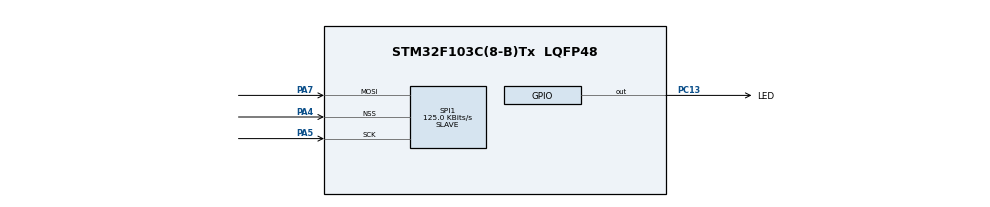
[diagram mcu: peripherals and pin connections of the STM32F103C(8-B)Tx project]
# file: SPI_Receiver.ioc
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Mcu.Family=STM32F1
Mcu.Name=STM32F103C(8-B)Tx
Mcu.Package=LQFP48
NVIC.PriorityGroup=NVIC_PRIORITYGROUP_4
NVIC.SPI1_IRQn=true\:0\:0\:false\:false\:true\:true\:true
PA13.Mode=Serial_Wire
PA13.Signal=SYS_JTMS-SWDIO
PA14.Mode=Serial_Wire
PA14.Signal=SYS_JTCK-SWCLK
PA4.Mode=NSS_Signal_Hard_Input
PA4.Signal=SPI1_NSS
PA5.Mode=RX_Only_Simplex_Unidirect_Slave
PA5.Signal=SPI1_SCK
PA7.Mode=RX_Only_Simplex_Unidirect_Slave
PA7.Signal=SPI1_MOSI
PC13-TAMPER-RTC.GPIO_Label=LED
PC13-TAMPER-RTC.Signal=GPIO_Output
ProjectManager.HeapSize=0x200
ProjectManager.StackSize=0x400
ProjectManager.TargetToolchain=STM32CubeIDE
RCC.APB1Freq_Value=8000000
RCC.APB2Freq_Value=8000000
SPI1.BaudRatePrescaler=SPI_BAUDRATEPRESCALER_64
SPI1.CalculateBaudRate=125.0 KBits/s
SPI1.Direction=SPI_DIRECTION_2LINES_RXONLY
SPI1.Mode=SPI_MODE_SLAVE
SPI1.VirtualNSS=VM_NSSHARD
SPI1.VirtualType=VM_SLAVE
board=custom

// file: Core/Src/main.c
/* USER CODE BEGIN Header */
/**
  ******************************************************************************
  * @file           : main.c
  * @brief          : Main program body
  ******************************************************************************
  * @attention
  *
  * <h2><center>&copy; Copyright (c) 2021 STMicroelectronics.
  * All rights reserved.</center></h2>
  *
  * This software component is licensed by ST under BSD 3-Clause license,
  * the "License"; You may not use this file except in compliance with the
  * License. You may obtain a copy of the License at:
  *                        opensource.org/licenses/BSD-3-Clause
  *
  ******************************************************************************
  */
/* USER CODE END Header */
#include "main.h"

SPI_HandleTypeDef hspi1;

void SystemClock_Config(void);
static void MX_GPIO_Init(void);
static void MX_SPI1_Init(void);

/* USER CODE BEGIN 0 */
void led_on()
{
  HAL_GPIO_WritePin(LED_GPIO_Port, LED_Pin, GPIO_PIN_RESET);
}

void led_off()
{
  HAL_GPIO_WritePin(LED_GPIO_Port, LED_Pin, GPIO_PIN_SET);
}

void led_toggle()
{
  HAL_GPIO_TogglePin(LED_GPIO_Port, LED_Pin);
}

//Rewrite of SPI_CloseRx_ISR() without SPI Rx deinitialization
static void SPI_Callback(SPI_HandleTypeDef *hspi)
{
    if (hspi->ErrorCode == HAL_SPI_ERROR_NONE)
    {
      HAL_SPI_RxCpltCallback(hspi);
    }
    else
    {
      HAL_SPI_ErrorCallback(hspi);
    }
}

// Rewrite of SPI_RxISR_8BIT() for continuous data reading
static void SPI_RxISR_8BIT_noStop(struct __SPI_HandleTypeDef *hspi)
{
  *hspi->pRxBuffPtr = (*(__IO uint8_t *)&hspi->Instance->DR);
//  hspi->pRxBuffPtr++;
//  hspi->RxXferCount--;

//  if (hspi->RxXferCount == 0U)
//  {
//    SPI_CloseRx_ISR(hspi);
//  }
  SPI_Callback(hspi);
}

long int rx_byte_count = 0;
uint8_t data_rx = 0;

void HAL_SPI_RxCpltCallback(SPI_HandleTypeDef *hspi)
{
  if(hspi == &hspi1)
  {
    count++;
  }
}

void HAL_SPI_ErrorCallback(SPI_HandleTypeDef *hspi)
{

}

/* USER CODE END 0 */

int main(void)
{

  /* MCU Configuration--------------------------------------------------------*/

  /* Reset of all peripherals, Initializes the Flash interface and the Systick. */
  HAL_Init();

  /* Configure the system clock */
  SystemClock_Config();

  /* Initialize all configured peripherals */
  MX_GPIO_Init();
  MX_SPI1_Init();
  /* USER CODE BEGIN 2 */
  //  Initialization sequence blinking
  led_on();
  HAL_Delay(2000);
  led_off();
  HAL_Delay(1000);

  HAL_SPI_Receive_IT(&hspi1, &data_rx, sizeof(data_rx));
  // Use own version of SPI_RxISR_8BIT()
  hspi1.RxISR = SPI_RxISR_8BIT_noStop;
  /* USER CODE END 2 */

  /* Infinite loop */
  /* USER CODE BEGIN WHILE */
  while (1)
  {
	  if (data_rx % 2 == 1)
	  {
		  led_on();
	  } else
	  {
		  led_off();
	  }
    /* USER CODE END WHILE */

  }
}

void SystemClock_Config(void)
{
  RCC_OscInitTypeDef RCC_OscInitStruct = {0};
  RCC_ClkInitTypeDef RCC_ClkInitStruct = {0};

  /** Initializes the RCC Oscillators according to the specified parameters
  * in the RCC_OscInitTypeDef structure.
  */
  RCC_OscInitStruct.OscillatorType = RCC_OSCILLATORTYPE_HSI;
  RCC_OscInitStruct.HSIState = RCC_HSI_ON;
  RCC_OscInitStruct.HSICalibrationValue = RCC_HSICALIBRATION_DEFAULT;
  RCC_OscInitStruct.PLL.PLLState = RCC_PLL_NONE;
  if (HAL_RCC_OscConfig(&RCC_OscInitStruct) != HAL_OK)
  {
    Error_Handler();
  }
  /** Initializes the CPU, AHB and APB buses clocks
  */
  RCC_ClkInitStruct.ClockType = RCC_CLOCKTYPE_HCLK|RCC_CLOCKTYPE_SYSCLK
                              |RCC_CLOCKTYPE_PCLK1|RCC_CLOCKTYPE_PCLK2;
  RCC_ClkInitStruct.SYSCLKSource = RCC_SYSCLKSOURCE_HSI;
  RCC_ClkInitStruct.AHBCLKDivider = RCC_SYSCLK_DIV1;
  RCC_ClkInitStruct.APB1CLKDivider = RCC_HCLK_DIV1;
  RCC_ClkInitStruct.APB2CLKDivider = RCC_HCLK_DIV1;

  if (HAL_RCC_ClockConfig(&RCC_ClkInitStruct, FLASH_LATENCY_0) != HAL_OK)
  {
    Error_Handler();
  }
}

static void MX_SPI1_Init(void)
{

  /* SPI1 parameter configuration*/
  hspi1.Instance = SPI1;
  hspi1.Init.Mode = SPI_MODE_SLAVE;
  hspi1.Init.Direction = SPI_DIRECTION_2LINES_RXONLY;
  hspi1.Init.DataSize = SPI_DATASIZE_8BIT;
  hspi1.Init.CLKPolarity = SPI_POLARITY_LOW;
  hspi1.Init.CLKPhase = SPI_PHASE_1EDGE;
  hspi1.Init.NSS = SPI_NSS_HARD_INPUT;
  hspi1.Init.BaudRatePrescaler = SPI_BAUDRATEPRESCALER_64;
  hspi1.Init.FirstBit = SPI_FIRSTBIT_MSB;
  hspi1.Init.TIMode = SPI_TIMODE_DISABLE;
  hspi1.Init.CRCCalculation = SPI_CRCCALCULATION_DISABLE;
  hspi1.Init.CRCPolynomial = 10;
  if (HAL_SPI_Init(&hspi1) != HAL_OK)
  {
    Error_Handler();
  }

}

static void MX_GPIO_Init(void)
{
  GPIO_InitTypeDef GPIO_InitStruct = {0};

  /* GPIO Ports Clock Enable */
  __HAL_RCC_GPIOC_CLK_ENABLE();
  __HAL_RCC_GPIOA_CLK_ENABLE();

  /*Configure GPIO pin Output Level */
  HAL_GPIO_WritePin(LED_GPIO_Port, LED_Pin, GPIO_PIN_RESET);

  /*Configure GPIO pin : LED_Pin */
  GPIO_InitStruct.Pin = LED_Pin;
  GPIO_InitStruct.Mode = GPIO_MODE_OUTPUT_PP;
  GPIO_InitStruct.Pull = GPIO_NOPULL;
  GPIO_InitStruct.Speed = GPIO_SPEED_FREQ_LOW;
  HAL_GPIO_Init(LED_GPIO_Port, &GPIO_InitStruct);

}

void Error_Handler(void)
{
  __disable_irq();
  while (1)
  {
  }
}

/************************ (C) COPYRIGHT STMicroelectronics *****END OF FILE****/
